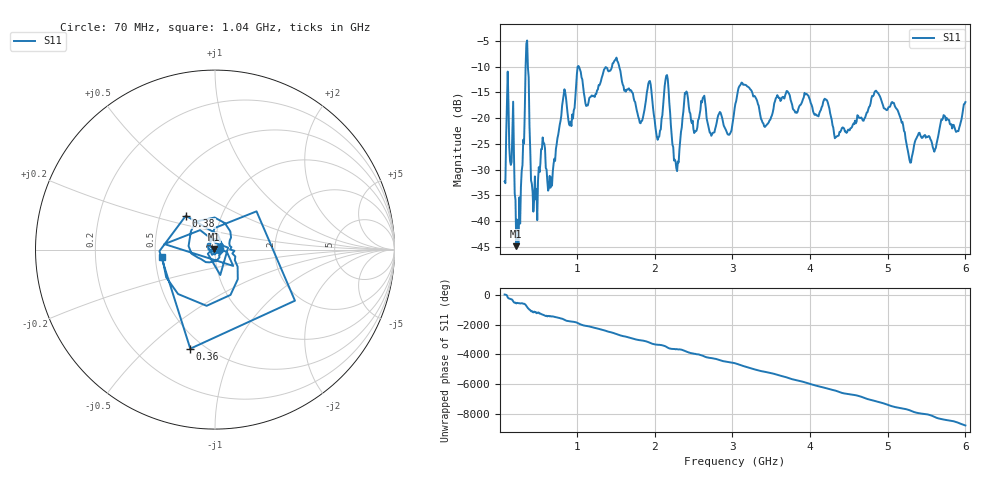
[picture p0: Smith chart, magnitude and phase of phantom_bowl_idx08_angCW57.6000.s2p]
! S21 sweep bladeRF  2025-09-09T16:10:38
! Window=bharris  Blocks=64  Samples=2048  Method=median
! TX LUT = /home/sampa/imaging/sdr/thru_txlut.csv
# Hz S DB R 50
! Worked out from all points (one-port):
!   594 points, 70 MHz to 6 GHz, reference 50 ohm
!   lowest |S11| = -44.9 dB at 220 MHz (marker M1), VSWR 1.01, Z = 49.6 + j0.394 ohm
!   |S11| at or under -10 dB: 369.7 MHz to 1.01 GHz (640.3 MHz wide, 92.8 % of centre); 1.026 GHz to 1.452 GHz (425.6 MHz wide, 34.4 % of centre); 1.545 GHz to end of sweep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
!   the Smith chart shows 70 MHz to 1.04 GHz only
!   S11 on the Smith chart (normalised r, x): 70 MHz: 1.05, +0.01; 360 MHz: 0.42, -0.69; 380 MHz: 0.68, +0.27; 1.04 GHz: 0.54, -0.05
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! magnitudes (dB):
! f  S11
! 70 MHz  -32.3
! 110 MHz  -11.0
! 190 MHz  -26.7
! 220 MHz  -44.9
! 260 MHz  -35.4
! 360 MHz  -4.9
! 380 MHz  -12.1
! 420 MHz  -32.7
! 470 MHz  -35.8
! 560 MHz  -23.8
! 660 MHz  -33.5
! 820 MHz  -16.6
! 930 MHz  -21.5
! 1.04 GHz  -10.5
! 1.56 GHz  -10.8
! 1.82 GHz  -21.0
! 1.94 GHz  -12.8
! 2.04 GHz  -24.2
! 2.16 GHz  -11.6
! 2.3 GHz  -28.4
! 2.41 GHz  -14.8
! 2.52 GHz  -22.5
! 3.04 GHz  -17.2
! 3.78 GHz  -18.2
! 4.52 GHz  -22.0
! 4.86 GHz  -14.9
! 5.26 GHz  -26.4
! 6 GHz  -16.9
